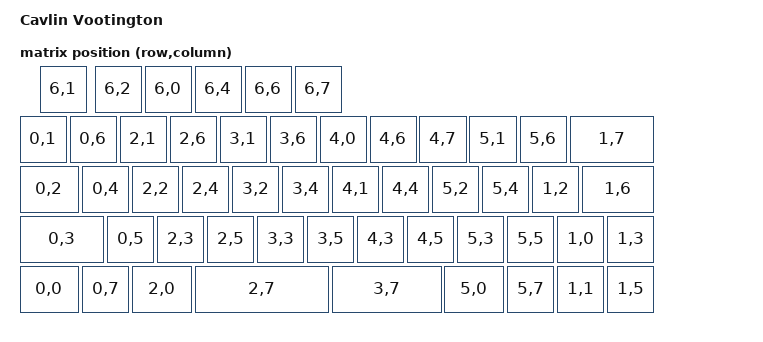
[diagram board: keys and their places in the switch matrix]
/*
 * Copyright (c) 2025 Peter Johanson
 *
 * SPDX-License-Identifier: MIT
 */

/dts-v1/;
#include <st/g0/stm32g0b1Xb.dtsi>
#include <st/g0/stm32g0b1c(b-c-e)tx-pinctrl.dtsi>

#include <zephyr/dt-bindings/dt-util.h>
#include <zephyr/dt-bindings/adc/adc.h>
#include <zephyr/dt-bindings/clock/stm32_common_clocks.h>
#include <dt-bindings/led/led.h>

#include <dt-bindings/zmk/matrix_transform.h>
#include <physical_layouts.dtsi>

/ {
	model = "Cavlin Vootington";
	compatible = "calvin,vootington";

	chosen {
		zephyr,sram = &sram0;
		zephyr,flash = &flash0;
		zephyr,code-partition = &code_partition;
		zephyr,boot-mode = &retention0;
		/* zmk,underglow = &led_strip; */
	};

	mux: mux {
		compatible = "zmk,gpio-mux";
		
		select-gpios
		    = <&gpiob 10 GPIO_ACTIVE_HIGH>
		    , <&gpiob 2 GPIO_ACTIVE_HIGH>
		    , <&gpiob 1 GPIO_ACTIVE_HIGH>
		    ;
		
		gpio-controller;
		ngpios = <16>;
		#gpio-cells = <2>;
	};

	matrix: matrix {
		compatible = "zmk,kscan-he-matrix";
		active-polling-interval-ms = <0>;

		select-gpios
			= <&mux 0 0>
			, <&mux 1 0>
			, <&mux 2 0>
			, <&mux 3 0>
			, <&mux 4 0>
			, <&mux 5 0>
			, <&mux 6 0>
			, <&mux 7 0>
			;
		io-channels =          <&adc1 2 &adc1 3     &adc1 4 &adc1 5      &adc1 6     &adc1 7     &adc1 8>;
		channel-select-masks = <0>,     <(BIT(4))>, <0>,    <(BIT(0))>,  <(BIT(2))>, <0>,        <(BIT(3) + BIT(5))>;
		high-threshold-noise-mult = <6>;

		thunderdome_ex {
			compatible="zmk,analog-matrix-thunderdome-keys";
			pos-a = <0 4>;
			pos-b = <2 4>;
			tie-mode = "both";
		};

		#if 0
			precalib-avg-highs = <
		2969
		2971
		2989
		2990
		3012
		2885
		2837
		2777
		2997
		3003
		2979
		2982
		2949
		2995
		2920
		2977
		2951
		2904
		2980
		2979
		2970
		3003
		2999
		2957
		0
		2901
		2960
		2953
		2989
		2973
		2903
		2968
		2986
		2988
		2981
		2964
		2961
		2956
		2964
		2959
		2969
		2982
		2957
		2969
		2946
		2892
		2989
		2947
		2942
		3018
		2781
		0
		2938
		0
		2944
		2983
	>;
precalib-avg-lows = <
		2449
		2183
		2372
		2376
		2690
		1996
		1936
		2136
		2411
		2454
		2208
		2319
		2100
		2391
		2032
		2366
		2266
		1965
		2282
		2271
		2138
		2611
		2411
		2316
		0
		2012
		2133
		2164
		2325
		2251
		2022
		2170
		2358
		2444
		2281
		2165
		2238
		2102
		2150
		2105
		2335
		2343
		2136
		2222
		2098
		1987
		2301
		2100
		2117
		2670
		2066
		0
		2128
		0
		2123
		2370
	>;
	#endif

	};

	split_transform: split_transform {
		compatible = "zmk,matrix-transform";
		rows = <5>;
		columns = <15>;
		
		map = <
		 RC(6,1)  RC(6,2) RC(6,0) RC(6,4) RC(6,6) RC(6,7)
		 RC(0,1)  RC(0,6) RC(2,1) RC(2,6) RC(3,1) RC(3,6) RC(4,0) RC(4,6) RC(4,7) RC(5,1) RC(5,6) RC(1,7)
		 RC(0,2)  RC(0,4) RC(2,2) RC(2,4) RC(3,2) RC(3,4) RC(4,1) RC(4,4) RC(5,2) RC(5,4) RC(1,2) RC(1,6)
		 RC(0,3)  RC(0,5) RC(2,3) RC(2,5) RC(3,3) RC(3,5) RC(4,3) RC(4,5) RC(5,3) RC(5,5) RC(1,0) RC(1,3)
		 RC(0,0)  RC(0,7) RC(2,0)        RC(2,7)          RC(3,7)         RC(5,0) RC(5,7) RC(1,1) RC(1,5)
		>;
	};


	split_jetvan_layout: split_jetvan_layout {
		compatible = "zmk,physical-layout";
		display-name = "Split JetVan";
		
		transform = <&split_transform>;
		kscan = <&matrix>;
		
		keys
		    = <&key_physical_attrs 100 100 050  000 0 0 0>
		    , <&key_physical_attrs 100 100 150  000 0 0 0>
		    , <&key_physical_attrs 100 100 250  000 0 0 0>
		    , <&key_physical_attrs 100 100 350  000 0 0 0>
		    , <&key_physical_attrs 100 100 450  000 0 0 0>
		    , <&key_physical_attrs 100 100 550  000 0 0 0>

		    , <&key_physical_attrs 100 100 000  100 0 0 0>
		    , <&key_physical_attrs 100 100 100  100 0 0 0>
		    , <&key_physical_attrs 100 100 200  100 0 0 0>
		    , <&key_physical_attrs 100 100 300  100 0 0 0>
		    , <&key_physical_attrs 100 100 400  100 0 0 0>
		    , <&key_physical_attrs 100 100 500  100 0 0 0>
		    , <&key_physical_attrs 100 100 600  100 0 0 0>
		    , <&key_physical_attrs 100 100 700  100 0 0 0>
		    , <&key_physical_attrs 100 100 800  100 0 0 0>
		    , <&key_physical_attrs 100 100 900  100 0 0 0>
		    , <&key_physical_attrs 100 100 1000 100 0 0 0>
		    , <&key_physical_attrs 175 100 1100 100 0 0 0>
		
		    , <&key_physical_attrs 125 100 000  200 0 0 0>
		    , <&key_physical_attrs 100 100 125  200 0 0 0>
		    , <&key_physical_attrs 100 100 225  200 0 0 0>
		    , <&key_physical_attrs 100 100 325  200 0 0 0>
		    , <&key_physical_attrs 100 100 425  200 0 0 0>
		    , <&key_physical_attrs 100 100 525  200 0 0 0>
		    , <&key_physical_attrs 100 100 625  200 0 0 0>
		    , <&key_physical_attrs 100 100 725  200 0 0 0>
		    , <&key_physical_attrs 100 100 825  200 0 0 0>
		    , <&key_physical_attrs 100 100 925  200 0 0 0>
		    , <&key_physical_attrs 100 100 1025 200 0 0 0>
		    , <&key_physical_attrs 150 100 1125 200 0 0 0>
		
		    , <&key_physical_attrs 175 100 000  300 0 0 0>
		    , <&key_physical_attrs 100 100 175  300 0 0 0>
		    , <&key_physical_attrs 100 100 275  300 0 0 0>
		    , <&key_physical_attrs 100 100 375  300 0 0 0>
		    , <&key_physical_attrs 100 100 475  300 0 0 0>
		    , <&key_physical_attrs 100 100 575  300 0 0 0>
		    , <&key_physical_attrs 100 100 675  300 0 0 0>
		    , <&key_physical_attrs 100 100 775  300 0 0 0>
		    , <&key_physical_attrs 100 100 875  300 0 0 0>
		    , <&key_physical_attrs 100 100 975  300 0 0 0>
		    , <&key_physical_attrs 100 100 1075 300 0 0 0>
		    , <&key_physical_attrs 100 100 1175 300 0 0 0>
		
		    , <&key_physical_attrs 125 100 000  400 0 0 0>
		    , <&key_physical_attrs 100 100 125  400 0 0 0>
		    , <&key_physical_attrs 125 100 225  400 0 0 0>
		    , <&key_physical_attrs 275 100 350  400 0 0 0>
		    , <&key_physical_attrs 225 100 625  400 0 0 0>
		    , <&key_physical_attrs 125 100 850  400 0 0 0>
		    , <&key_physical_attrs 100 100 975  400 0 0 0>
		    , <&key_physical_attrs 100 100 1075 400 0 0 0>
		    , <&key_physical_attrs 100 100 1175 400 0 0 0>
		    ;
	};

	jetvan_layout: jetvan_layout {
		compatible = "zmk,physical-layout";
		display-name = "JetVan";

		status = "disabled";
		
		// transform = <&jetvan_transform>;
		// kscan = <&kscan>;
		
		keys
		    = <&key_physical_attrs 100 100 050  000 0 0 0>
		    , <&key_physical_attrs 100 100 150  000 0 0 0>
		    , <&key_physical_attrs 100 100 250  000 0 0 0>
		    , <&key_physical_attrs 100 100 350  000 0 0 0>
		    , <&key_physical_attrs 100 100 450  000 0 0 0>
		    , <&key_physical_attrs 100 100 550  000 0 0 0>

		    , <&key_physical_attrs 100 100 000  100 0 0 0>
		    , <&key_physical_attrs 100 100 100  100 0 0 0>
		    , <&key_physical_attrs 100 100 200  100 0 0 0>
		    , <&key_physical_attrs 100 100 300  100 0 0 0>
		    , <&key_physical_attrs 100 100 400  100 0 0 0>
		    , <&key_physical_attrs 100 100 500  100 0 0 0>
		    , <&key_physical_attrs 100 100 600  100 0 0 0>
		    , <&key_physical_attrs 100 100 700  100 0 0 0>
		    , <&key_physical_attrs 100 100 800  100 0 0 0>
		    , <&key_physical_attrs 100 100 900  100 0 0 0>
		    , <&key_physical_attrs 100 100 1000 100 0 0 0>
		    , <&key_physical_attrs 175 100 1100 100 0 0 0>
		
		    , <&key_physical_attrs 125 100 000  200 0 0 0>
		    , <&key_physical_attrs 100 100 125  200 0 0 0>
		    , <&key_physical_attrs 100 100 225  200 0 0 0>
		    , <&key_physical_attrs 100 100 325  200 0 0 0>
		    , <&key_physical_attrs 100 100 425  200 0 0 0>
		    , <&key_physical_attrs 100 100 525  200 0 0 0>
		    , <&key_physical_attrs 100 100 625  200 0 0 0>
		    , <&key_physical_attrs 100 100 725  200 0 0 0>
		    , <&key_physical_attrs 100 100 825  200 0 0 0>
		    , <&key_physical_attrs 100 100 925  200 0 0 0>
		    , <&key_physical_attrs 100 100 1025 200 0 0 0>
		    , <&key_physical_attrs 150 100 1125 200 0 0 0>
		
		    , <&key_physical_attrs 175 100 000  300 0 0 0>
		    , <&key_physical_attrs 100 100 175  300 0 0 0>
		    , <&key_physical_attrs 100 100 275  300 0 0 0>
		    , <&key_physical_attrs 100 100 375  300 0 0 0>
		    , <&key_physical_attrs 100 100 475  300 0 0 0>
		    , <&key_physical_attrs 100 100 575  300 0 0 0>
		    , <&key_physical_attrs 100 100 675  300 0 0 0>
		    , <&key_physical_attrs 100 100 775  300 0 0 0>
		    , <&key_physical_attrs 100 100 875  300 0 0 0>
		    , <&key_physical_attrs 100 100 975  300 0 0 0>
		    , <&key_physical_attrs 100 100 1075 300 0 0 0>
		    , <&key_physical_attrs 100 100 1175 300 0 0 0>
		
		    , <&key_physical_attrs 125 100 000  400 0 0 0>
		    , <&key_physical_attrs 100 100 125  400 0 0 0>
		    , <&key_physical_attrs 125 100 225  400 0 0 0>
		    , <&key_physical_attrs 625 100 350  400 0 0 0>
		    , <&key_physical_attrs 100 100 975  400 0 0 0>
		    , <&key_physical_attrs 100 100 1075 400 0 0 0>
		    , <&key_physical_attrs 100 100 1175 400 0 0 0>
		    ;
	};
};

&flash0 {
	partitions {
		compatible = "fixed-partitions";
		#address-cells = <1>;
		#size-cells = <1>;

		code_partition: partition@0 {
			label = "code";
			reg = <0x00000000 DT_SIZE_K(112)>;
			read-only;
		};
		/* final 32KiB reserved for app storage partition */
		storage_partition: partition@1c000 {
			label = "storage";
			reg = <0x0001c000 DT_SIZE_K(16)>;
		};
	};
};

zephyr_udc0: &usb {
    status = "okay";

    pinctrl-0 = <&usb_dm_pa11 &usb_dp_pa12>;
    pinctrl-names = "default";
};

&dma1 {
	status = "okay";
};


&dmamux1 {
	status = "okay";
};

&adc1 {
	status = "okay";

	pinctrl-0 = <&adc1_in2_pa2 &adc1_in3_pa3 &adc1_in4_pa4 &adc1_in5_pa5 &adc1_in6_pa6 &adc1_in7_pa7 &adc1_in8_pb0>;
	pinctrl-names = "default";

	clocks = <&rcc STM32_CLOCK(APB1_2, 20)>,
		 <&rcc STM32_SRC_SYSCLK ADC_SEL(0)>;
	clock-names = "adcx", "adc_ker";
	st,adc-clock-source = "ASYNC";
	st,adc-prescaler = <1>;

        dmas = <&dmamux1 0 5 (STM32_DMA_PERIPH_RX | STM32_DMA_MEM_16BITS |                                                                                                            
                STM32_DMA_PERIPH_16BITS)>;                                                                                                                                            
        dma-names = "dmamux";

	#address-cells = <1>;
	#size-cells = <0>;

	channel@2 {
		reg = <2>;
		zephyr,gain = "ADC_GAIN_1";
		zephyr,reference = "ADC_REF_INTERNAL";
		zephyr,acquisition-time = <ADC_ACQ_TIME_DEFAULT>;
		zephyr,resolution = <12>;
	};

	channel@3 {
		reg = <3>;
		zephyr,gain = "ADC_GAIN_1";
		zephyr,reference = "ADC_REF_INTERNAL";
		zephyr,acquisition-time = <ADC_ACQ_TIME_DEFAULT>;
		zephyr,resolution = <12>;
	};

	channel@4 {
		reg = <4>;
		zephyr,gain = "ADC_GAIN_1";
		zephyr,reference = "ADC_REF_INTERNAL";
		zephyr,acquisition-time = <ADC_ACQ_TIME_DEFAULT>;
		zephyr,resolution = <12>;
	};

	channel@5 {
		reg = <5>;
		zephyr,gain = "ADC_GAIN_1";
		zephyr,reference = "ADC_REF_INTERNAL";
		zephyr,acquisition-time = <ADC_ACQ_TIME_DEFAULT>;
		zephyr,resolution = <12>;
	};

	channel@6 {
		reg = <6>;
		zephyr,gain = "ADC_GAIN_1";
		zephyr,reference = "ADC_REF_INTERNAL";
		zephyr,acquisition-time = <ADC_ACQ_TIME_DEFAULT>;
		zephyr,resolution = <12>;
	};

	channel@7 {
		reg = <7>;
		zephyr,gain = "ADC_GAIN_1";
		zephyr,reference = "ADC_REF_INTERNAL";
		zephyr,acquisition-time = <ADC_ACQ_TIME_DEFAULT>;
		zephyr,resolution = <12>;
	};

	channel@8 {
		reg = <8>;
		zephyr,gain = "ADC_GAIN_1";
		zephyr,reference = "ADC_REF_INTERNAL";
		zephyr,acquisition-time = <ADC_ACQ_TIME_DEFAULT>;
		zephyr,resolution = <12>;
	};
};

&clk_lsi {
    status = "okay";
};

&clk_hsi48 {
    status = "okay";
    crs-usb-sof;
};

&clk_hsi {
    status = "okay";
};

&pll {
	div-m = <1>;
	mul-n = <8>;
	div-p = <2>;
	div-q = <2>;
	div-r = <2>;
	clocks = <&clk_hsi>;
	status = "okay";
};

&rcc {
	clocks = <&pll>;
	clock-frequency = <DT_FREQ_M(64)>;
	ahb-prescaler = <1>;
	apb1-prescaler = <1>;
};


&rtc {
	clocks = <&rcc STM32_CLOCK_BUS_APB1 0x00000400>,
		 <&rcc STM32_SRC_LSI RTC_SEL(2)>;
	status = "okay";

	backup_regs {
		status = "okay";
	};
};

&bbram {
	status = "okay";

	retainedmem0: retainedmem {
		compatible = "zephyr,retained-bbram";
		status = "okay";
                #address-cells = <1>;
                #size-cells = <1>;

                retention0: retention@0 {
                        compatible = "zephyr,retention";
                        status = "okay";
                        reg = <0x0 0x1>;
                };
	};
};
